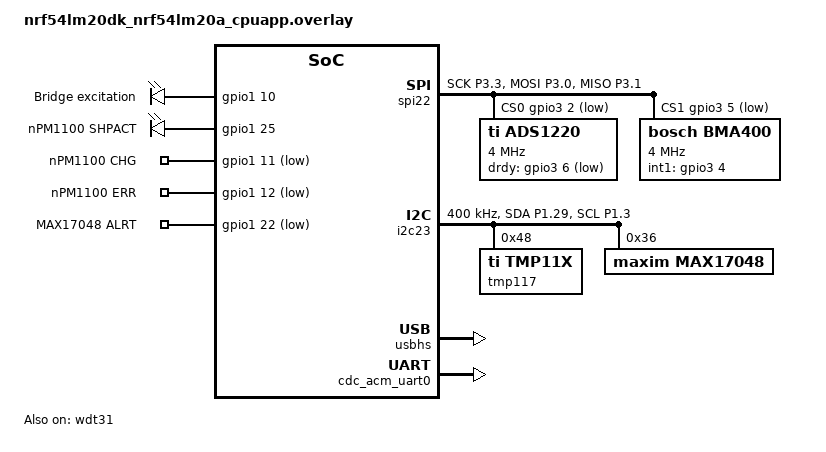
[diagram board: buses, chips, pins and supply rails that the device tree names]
/*
 * nRF54LM20 DK (nrf54lm20dk/nrf54lm20a/cpuapp): development target of the
 * pod board, which carries the nRF54LM20A in the MinewSemi ME54BS13.
 *
 * The DK has none of the peripherals of the pod. This overlay puts them on
 * free pins of the DK, with the pins of docs/02-hardware.md (Pinos do
 * módulo, column "No DK"), so evaluation boards of the ADS1220, the BMA400,
 * the TMP117 and the MAX17048 can be wired to them:
 *
 *   Bridge and IMU SPI (spi22)  SCK P3.03, MOSI P3.00, MISO P3.01;
 *                               ADS1220 CS P3.02, DRDY P3.06;
 *                               BMA400 CS P3.05, INT1 P3.04
 *   Sensor I2C (i2c23)          SDA P1.29, SCL P1.03: TMP117 0x48, MAX17048 0x36
 *   Excitation                  P1.10 (TPS22916 ON)
 *   Charger pins                CHG P1.11, ERR P1.12 (open drain, pulled up)
 *   Ship mode                   SHPACT P1.25
 *   Gauge alert                 P1.22
 *   LEDs                        LEDs 0, 1 and 2 of the DK
 *   Console                     uart20 (VCOM0 of the DK), from the board files
 *   USB                         the USB-C of the DK (usbhs)
 *
 * Two rules of the nRF54LM20A shape the map: SCL of a TWIM and SCK of a
 * SPIM must sit on clock pins (P1.03 and P3.03 are), and P1.01 and P1.02
 * leave reset as NFC pins and are not used.
 *
 * The services find the devices by these aliases: bridge-adc,
 * bridge-excitation, imu0, temp0, fuel-gauge0, charger-status,
 * charger-error, ship-activate, led-r, led-g, led-b and watchdog0 (docs/02).
 * A device that does not answer is left out.
 */

/ {
    aliases {
        bridge-adc = &ads1220;
        bridge-excitation = &exc_en;
        imu0 = &bma400;
        temp0 = &tmp117;
        fuel-gauge0 = &max17048;
        charger-status = &chg_n;
        charger-error = &err_n;
        ship-activate = &ship_act;
        led-r = &led0;
        led-g = &led1;
        led-b = &led2;
    };

    /* outputs of the pod: the excitation switch and the ship-mode pin */
    pm_outputs {
        compatible = "gpio-leds";

        exc_en: exc_en {
            gpios = <&gpio1 10 GPIO_ACTIVE_HIGH>;
            label = "Bridge excitation";
        };

        ship_act: ship_act {
            gpios = <&gpio1 25 GPIO_ACTIVE_HIGH>;
            label = "nPM1100 SHPACT";
        };
    };

    /* inputs of the pod: the charger pins are open drain, low when active */
    pm_inputs {
        compatible = "gpio-keys";

        chg_n: chg_n {
            gpios = <&gpio1 11 (GPIO_PULL_UP | GPIO_ACTIVE_LOW)>;
            label = "nPM1100 CHG";
        };

        err_n: err_n {
            gpios = <&gpio1 12 (GPIO_PULL_UP | GPIO_ACTIVE_LOW)>;
            label = "nPM1100 ERR";
        };

        gauge_alrt: gauge_alrt {
            gpios = <&gpio1 22 (GPIO_PULL_UP | GPIO_ACTIVE_LOW)>;
            label = "MAX17048 ALRT";
        };
    };
};

/*
 * Partitions. The SAME table the pod's board uses, and it has to be the
 * same: sysbuild/mcuboot.overlay applies to every target, so a layout that
 * differs here gives a bootloader that writes an image where the
 * application does not expect it - and nothing in the build says so. That
 * is exactly what happened on 2026-09-28: MCUboot was built with 664 KB
 * slots while this overlay still said 904, and both images linked without a
 * word.
 *
 * 60 KB for the bootloader is not a choice either: FPROTECT covers at most
 * 62 KB on the nRF54L series and MCUboot asserts it, so 60 is the largest
 * 4 KB-aligned size that fits. Over UART the bootloader measures 53.324 B
 * on this target, 86,8 % of it.
 */
/delete-node/ &boot_partition;
/delete-node/ &slot0_partition;
/delete-node/ &slot1_partition;
/delete-node/ &storage_partition;

&cpuapp_rram {
    partitions {
        boot_partition: partition@0 {
            label = "mcuboot";
            reg = <0x0 DT_SIZE_K(60)>;
        };

        slot0_partition: partition@f000 {
            label = "image-0";
            reg = <0xf000 DT_SIZE_K(664)>;
        };

        slot1_partition: partition@b5000 {
            label = "image-1";
            reg = <0xb5000 DT_SIZE_K(664)>;
        };

        storage_partition: partition@15b000 {
            label = "storage";
            reg = <0x15b000 DT_SIZE_K(40)>;
        };
    };
};

/* Hardware watchdog behind the task watchdog (alias watchdog0 of the DK) */
&wdt31 {
    status = "okay";
};

/*
 * The bridge converter and the accelerometer share spi22 on port P3, each
 * with its own chip select. SPI mode 1 for the ADS1220 and mode 0 for the
 * BMA400: the drivers set it per transfer.
 */
&spi22 {
    status = "okay";
    cs-gpios = <&gpio3 2 GPIO_ACTIVE_LOW>, <&gpio3 5 GPIO_ACTIVE_LOW>;
    pinctrl-0 = <&spi22_default>;
    pinctrl-1 = <&spi22_sleep>;
    pinctrl-names = "default", "sleep";

    /*
     * ADS1220 on the bridge: AIN0-AIN1 differential, gain 128, 175 SPS in
     * normal mode, the excitation on REFP0/REFN0 as reference (docs/06,
     * Amostragem). SCLK at most 6,6 MHz (150 ns period): 4 MHz here.
     */
    ads1220: ads1220@0 {
        compatible = "ti,ads1220";
        reg = <0>;
        spi-max-frequency = <4000000>;
        drdy-gpios = <&gpio3 6 GPIO_ACTIVE_LOW>;
        gain = <128>;
        data-rate = <175>;
        mux = <0>;
        vref = "refp0";
		/*
		 * Duty-cycle mode, decided by the owner on 2026-09-28: the
		 * converter runs at a quarter of data-rate and powers down in
		 * between, and the PSW that feeds the bridge opens with it. The
		 * meter goes from 1,50 mA to 0,68 and from 52 h to 114 - more
		 * than twice the class reference - without changing one part.
		 */
		duty-cycle;
    };

    /* BMA400: 100 Hz, ±4 g (the centripetal term at 200 rpm is 2,2 g), INT1 */
    bma400: bma400@1 {
        compatible = "bosch,bma400";
        reg = <1>;
        spi-max-frequency = <4000000>;
        int1-gpios = <&gpio3 4 GPIO_ACTIVE_HIGH>;
        range = <4>;
        odr = <100>;
        osr = <0>;
    };
};

/* Sensors: SCL on P1.03, a clock pin, with SDA on P1.29 */
&i2c23 {
    status = "okay";
    clock-frequency = <I2C_BITRATE_FAST>;
    pinctrl-0 = <&i2c23_default>;
    pinctrl-1 = <&i2c23_sleep>;
    pinctrl-names = "default", "sleep";

    /* TI TMP117, ADD0 to ground: 0x48; one conversion a second, 8 averaged */
    tmp117: tmp117@48 {
        compatible = "ti,tmp11x";
        reg = <0x48>;
        odr = <0x200>;
        oversampling = <0x20>;
    };

    /* Analog Devices MAX17048, fixed address 0x36 */
    max17048: max17048@36 {
        compatible = "maxim,max17048";
        reg = <0x36>;
    };
};

/* USB: the serial of the commands. The DK brings the USB-C of the SoC out. */
&usbhs {
    status = "okay";
};

&zephyr_udc0 {
    cdc_acm_uart0: cdc_acm_uart0 {
        compatible = "zephyr,cdc-acm-uart";
    };
};

&pinctrl {
    spi22_default: spi22_default {
        group1 {
            psels = <NRF_PSEL(SPIM_SCK, 3, 3)>,
                    <NRF_PSEL(SPIM_MOSI, 3, 0)>,
                    <NRF_PSEL(SPIM_MISO, 3, 1)>;
        };
    };

    spi22_sleep: spi22_sleep {
        group1 {
            psels = <NRF_PSEL(SPIM_SCK, 3, 3)>,
                    <NRF_PSEL(SPIM_MOSI, 3, 0)>,
                    <NRF_PSEL(SPIM_MISO, 3, 1)>;
            low-power-enable;
        };
    };

    i2c23_default: i2c23_default {
        group1 {
            psels = <NRF_PSEL(TWIM_SDA, 1, 29)>,
                    <NRF_PSEL(TWIM_SCL, 1, 3)>;
            bias-pull-up;
        };
    };

    i2c23_sleep: i2c23_sleep {
        group1 {
            psels = <NRF_PSEL(TWIM_SDA, 1, 29)>,
                    <NRF_PSEL(TWIM_SCL, 1, 3)>;
            low-power-enable;
        };
    };
};
